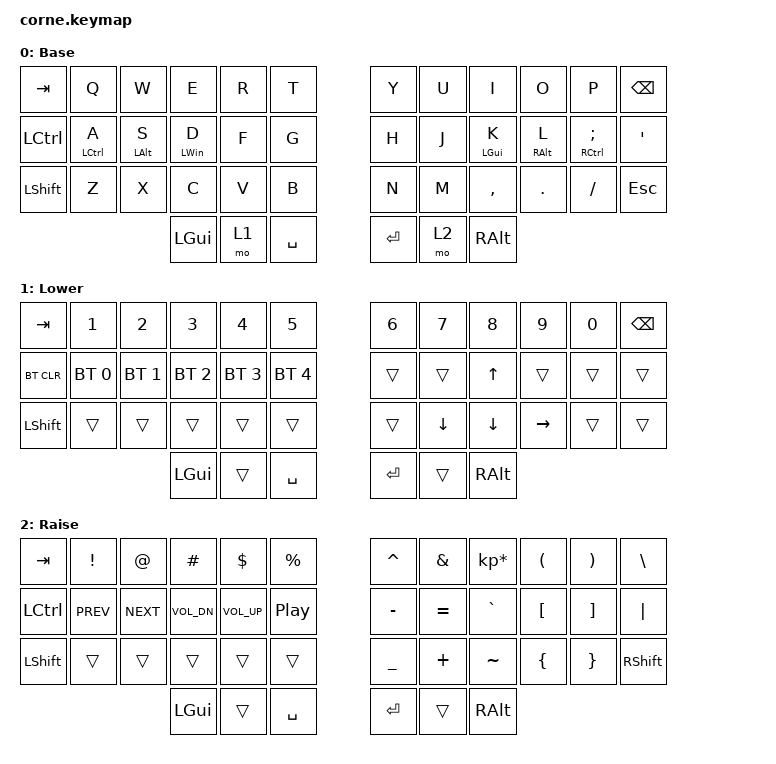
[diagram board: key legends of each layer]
/*
 * Copyright (c) 2020 The ZMK Contributors
 *
 * SPDX-License-Identifier: MIT
 */

#include <behaviors.dtsi>
#include <dt-bindings/zmk/bt.h>
#include <dt-bindings/zmk/keys.h>

/ {
    behaviors {
        HMR: HMR {
            compatible = "zmk,behavior-hold-tap";
            label = "HMR";
            bindings = <&kp>, <&kp>;

            #binding-cells = <2>;
            tapping-term-ms = <280>;
            quick-tap-ms = <175>;
            flavor = "tap-preferred";
            hold-trigger-key-positions = <0 1 2 3 4 5 12 13 14 15 16 17 24 25 26 27 28 29 36 37 38 39 40 41>;
            hold-trigger-on-release;
        };

        HML: HML {
            compatible = "zmk,behavior-hold-tap";
            label = "HML";
            bindings = <&kp>, <&kp>;

            #binding-cells = <2>;
            tapping-term-ms = <280>;
            quick-tap-ms = <175>;
            flavor = "tap-preferred";
            hold-trigger-on-release;
            hold-trigger-key-positions = <36 37 38 6 7 8 9 10 11 18 19 20 21 22 23 30 31 32 33 34 35 39 40 41>;
        };
    };

    keymap {
        compatible = "zmk,keymap";

        default_layer {
            // -----------------------------------------------------------------------------------------
            // |  TAB |  Q  |  W  |  E  |  R  |  T  |   |  Y  |  U   |  I  |  O  |  P  | BKSP |
            // | CTRL |  A  |  S  |  D  |  F  |  G  |   |  H  |  J   |  K  |  L  |  ;  |  '   |
            // | SHFT |  Z  |  X  |  C  |  V  |  B  |   |  N  |  M   |  ,  |  .  |  /  | ESC  |
            //                    | GUI | LWR | SPC |   | ENT | RSE  | ALT |

            display-name = "Base";
            bindings = <
&kp TAB    &kp Q                &kp W            &kp E            &kp R  &kp T        &kp Y    &kp U  &kp I            &kp O             &kp P                    &kp BSPC
&kp LCTRL  &HML LEFT_CONTROL A  &HML LEFT_ALT S  &HML LEFT_WIN D  &kp F  &kp G        &kp H    &kp J  &HMR LEFT_GUI K  &HMR RIGHT_ALT L  &HMR RIGHT_CONTROL SEMI  &kp SQT
&kp LSHFT  &kp Z                &kp X            &kp C            &kp V  &kp B        &kp N    &kp M  &kp COMMA        &kp DOT           &kp FSLH                 &kp ESC
                                                 &kp LGUI         &mo 1  &kp SPACE    &kp RET  &mo 2  &kp RALT
            >;
        };

        lower_layer {
            // -----------------------------------------------------------------------------------------
            // |  TAB |  1  |  2  |  3  |  4  |  5  |   |  6  |  7   |  8  |  9  |  0  | BKSP |
            // | BTCLR| BT1 | BT2 | BT3 | BT4 | BT5 |   |     |  UP  |     |     |     |      |
            // | SHFT |     |     |     |     |     |   | LFT | DOWN | RGT |     |     |      |
            //                    | GUI |     | SPC |   | ENT |      | ALT |

            display-name = "Lower";
            bindings = <
&kp TAB     &kp N1        &kp N2        &kp N3        &kp N4        &kp N5          &kp N6   &kp N7    &kp N8    &kp N9     &kp N0  &kp BSPC
&bt BT_CLR  &bt BT_SEL 0  &bt BT_SEL 1  &bt BT_SEL 2  &bt BT_SEL 3  &bt BT_SEL 4    &trans   &trans    &kp UP    &trans     &trans  &trans
&kp LSHFT   &trans        &trans        &trans        &trans        &trans          &trans   &kp DOWN  &kp DOWN  &kp RIGHT  &trans  &trans
                                        &kp LGUI      &trans        &kp SPACE       &kp RET  &trans    &kp RALT
            >;
        };

        raise_layer {
            // -----------------------------------------------------------------------------------------
            // |  TAB |  !  |  @  |  #  |  $  |  %  |   |  ^  |  &  |  *  |  (  |  )  |   \   |
            // | CTRL |     |     |     |     |     |   |  -  |  =  |  `  |  [  |  ]  |  "|"  |
            // | SHFT |     |     |     |     |     |   |  _  |  +  |  ~  |  {  |  }  | RSHFT |
            //                    | GUI |     | SPC |   | ENT |     | ALT |

            display-name = "Raise";
            bindings = <
&kp TAB    &kp EXCL    &kp AT      &kp HASH      &kp DLLR      &kp PRCNT    &kp CARET  &kp AMPS  &kp KP_MULTIPLY &kp LPAR &kp RPAR &kp BSLH
&kp LCTRL  &kp C_PREV  &kp C_NEXT  &kp C_VOL_DN  &kp C_VOL_UP  &kp C_PP     &kp MINUS  &kp EQUAL &kp GRAVE       &kp LBKT &kp RBKT &kp PIPE
&kp LSHFT  &trans      &trans      &trans        &trans        &trans       &kp UNDER  &kp PLUS  &kp TILDE       &kp LBRC &kp RBRC &kp RSHFT
                                   &kp LGUI      &trans        &kp SPACE    &kp RET    &trans    &kp RALT
            >;
        };

        extra_1 { status = "reserved"; };

        extra_2 { status = "reserved"; };

        extra_3 { status = "reserved"; };
    };
};
